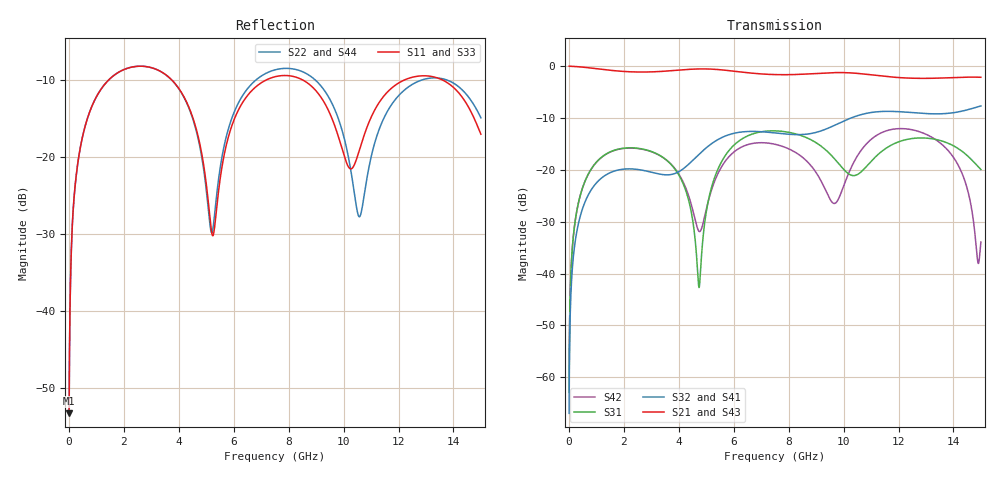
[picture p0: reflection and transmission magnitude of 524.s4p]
! Created with skrf 1.8.0 (http://scikit-rf.org).
# GHz S RI R 50.0
!freq ReS11 ImS11 ReS12 ImS12 ReS13 ImS13
! ReS14 ImS14
! ReS21 ImS21 ReS22 ImS22 ReS23 ImS23
! ReS24 ImS24
! ReS31 ImS31 ReS32 ImS32 ReS33 ImS33
! ReS34 ImS34
! ReS41 ImS41 ReS42 ImS42 ReS43 ImS43
! ReS44 ImS44
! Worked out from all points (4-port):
!   2499 points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, 5 MHz to 15 GHz, reference 50 ohm
!   strongest paths, dB at 5 MHz, 3.476 GHz, 7.19 GHz, 11.1 GHz, 15 GHz:
!     S21: 0.0, -1.0, -1.6, -1.7, -2.2
!     S43: 0.0, -1.0, -1.6, -1.7, -2.2
!     S32: -66.9, -20.9, -12.7, -8.9, -7.7
!     S41: -66.9, -21.0, -12.8, -8.9, -7.7
!     S31: -62.9, -17.8, -12.5, -17.8, -19.9
!     S42: -62.9, -17.8, -14.8, -13.7, -33.9
!   lowest |S11| = -53.3 dB at 5 MHz (marker M1), VSWR 1.00, Z = 50.2 + j0.131 ohm
!   |S11| at or under -10 dB: start of sweep to 1.435 GHz; 3.755 GHz to 7.161 GHz (3.407 GHz wide, 62.4 % of centre); 8.531 GHz to 12.19 GHz (3.661 GHz wide, 35.3 % of centre) (the widest 3 of 4)
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0.005  0.00172 0.0013  0.9982 -0.00335  8.77e-05 0.000713  -8.5e-05 -0.000442
       0.9982 -0.00335  0.00172 0.0013  -8.5e-05 -0.000442  8.76e-05 0.000713
       8.77e-05 0.000713  -8.5e-05 -0.000442  0.00172 0.0013  0.9982 -0.00335
       -8.5e-05 -0.000442  8.76e-05 0.000713  0.9982 -0.00335  0.00172 0.0013
0.3626511  0.0327 0.097  0.9547 -0.2387  0.0164 0.0478  -0.0134 -0.0289
           0.9547 -0.2387  0.0328 0.097  -0.0134 -0.0289  0.0162 0.0478
           0.0164 0.0478  -0.0134 -0.0289  0.0327 0.097  0.9547 -0.2387
           -0.0134 -0.0289  0.0162 0.0478  0.9547 -0.2387  0.0328 0.097
1.77574  0.3226 0.1451  0.416 -0.7946  0.1522 0.0421  -0.0977 0.0169
         0.416 -0.7946  0.3232 0.1444  -0.0979 0.0172  0.1507 0.0449
         0.1522 0.0421  -0.0979 0.0172  0.3225 0.1452  0.416 -0.7946
         -0.0977 0.0169  0.1507 0.0449  0.416 -0.7946  0.3233 0.1443
4.739475  0.062 -0.1118  -0.8731 -0.3451  0.0073 0.000822  -0.0489 0.1328
          -0.8731 -0.3451  0.0608 -0.1071  -0.0463 0.1337  -0.0237 -0.00936
          0.0073 0.000822  -0.0463 0.1337  0.0619 -0.1108  -0.8733 -0.3448
          -0.0489 0.1328  -0.0237 -0.00936  -0.8733 -0.3448  0.0601 -0.1065
8.053356  0.3375 -0.0135  -0.0233 0.8268  0.1667 -0.1566  0.2086 -0.0602
          -0.0233 0.8268  0.3733 -0.0518  0.2093 -0.0674  0.1569 -0.00602
          0.1667 -0.1566  0.2093 -0.0674  0.3398 -0.0102  -0.0235 0.8253
          0.2086 -0.0602  0.1569 -0.00602  -0.0235 0.8253  0.3783 -0.0537
10.8045  0.1177 0.0902  0.8339 -0.0426  -0.016 0.1047  -0.0288 -0.3474
         0.8339 -0.0426  0.053 0.0378  -0.0428 -0.3466  0.1153 0.1314
         -0.016 0.1047  -0.0428 -0.3466  0.12 0.0825  0.8344 -0.0401
         -0.0288 -0.3474  0.1153 0.1314  0.8344 -0.0401  0.0522 0.0337
15  0.1252 -0.0648  -0.5983 -0.5006  -0.0843 -0.0552  -0.2693 0.3134
    -0.5983 -0.5006  0.1452 -0.1068  -0.2487 0.3299  -0.0147 0.0138
    -0.0843 -0.0552  -0.2487 0.3299  0.1368 -0.0615  -0.5964 -0.5019
    -0.2693 0.3134  -0.0147 0.0138  -0.5964 -0.5019  0.1414 -0.1143
